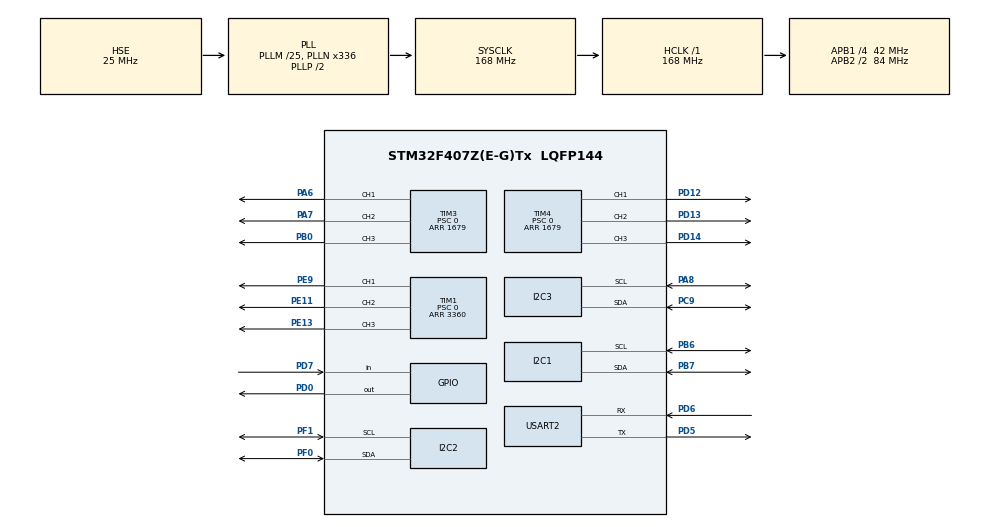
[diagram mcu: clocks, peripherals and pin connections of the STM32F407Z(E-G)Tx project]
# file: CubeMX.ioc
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I2C1.I2C_Mode=I2C_Fast
I2C2.I2C_Mode=I2C_Fast
I2C3.I2C_Mode=I2C_Fast
Mcu.Family=STM32F4
Mcu.Name=STM32F407Z(E-G)Tx
Mcu.Package=LQFP144
NVIC.PriorityGroup=NVIC_PRIORITYGROUP_4
NVIC.USART2_IRQn=true\:0\:0\:false\:false\:true\:true\:true\:true
PA13.Mode=Serial_Wire
PA13.Signal=SYS_JTMS-SWDIO
PA14.Mode=Serial_Wire
PA14.Signal=SYS_JTCK-SWCLK
PA6.Signal=S_TIM3_CH1
PA7.Signal=S_TIM3_CH2
PA8.GPIO_Pu=GPIO_PULLUP
PA8.GPIO_Speed=GPIO_SPEED_FREQ_LOW
PA8.Mode=I2C
PA8.Signal=I2C3_SCL
PB0.Signal=S_TIM3_CH3
PB6.GPIO_Pu=GPIO_PULLUP
PB6.GPIO_Speed=GPIO_SPEED_FREQ_LOW
PB6.Mode=I2C
PB6.Signal=I2C1_SCL
PB7.GPIO_Pu=GPIO_PULLUP
PB7.GPIO_Speed=GPIO_SPEED_FREQ_LOW
PB7.Mode=I2C
PB7.Signal=I2C1_SDA
PC9.GPIO_Pu=GPIO_PULLUP
PC9.GPIO_Speed=GPIO_SPEED_FREQ_LOW
PC9.Mode=I2C
PC9.Signal=I2C3_SDA
PD0.GPIO_Pu=GPIO_NOPULL
PD0.GPIO_Speed=GPIO_SPEED_FREQ_LOW
PD0.Signal=GPIO_Output
PD12.Signal=S_TIM4_CH1
PD13.Signal=S_TIM4_CH2
PD14.Signal=S_TIM4_CH3
PD5.Mode=Asynchronous
PD5.Signal=USART2_TX
PD6.Mode=Asynchronous
PD6.Signal=USART2_RX
PD7.Signal=GPIO_Input
PE11.Signal=S_TIM1_CH2
PE13.Signal=S_TIM1_CH3
PE9.Signal=S_TIM1_CH1
PF0.GPIO_Pu=GPIO_PULLUP
PF0.GPIO_Speed=GPIO_SPEED_FREQ_LOW
PF0.Mode=I2C
PF0.Signal=I2C2_SDA
PF1.GPIO_Pu=GPIO_PULLUP
PF1.GPIO_Speed=GPIO_SPEED_FREQ_LOW
PF1.Mode=I2C
PF1.Signal=I2C2_SCL
PH0-OSC_IN.Mode=HSE-External-Oscillator
PH0-OSC_IN.Signal=RCC_OSC_IN
PH1-OSC_OUT.Mode=HSE-External-Oscillator
PH1-OSC_OUT.Signal=RCC_OSC_OUT
ProjectManager.HeapSize=0x200
ProjectManager.StackSize=0x400
ProjectManager.TargetToolchain=MDK-ARM V5.32
RCC.48MHZClocksFreq_Value=84000000
RCC.AHBFreq_Value=168000000
RCC.APB1CLKDivider=RCC_HCLK_DIV4
RCC.APB1Freq_Value=42000000
RCC.APB1TimFreq_Value=84000000
RCC.APB2CLKDivider=RCC_HCLK_DIV2
RCC.APB2Freq_Value=84000000
RCC.APB2TimFreq_Value=168000000
RCC.CortexFreq_Value=168000000
RCC.HCLKFreq_Value=168000000
RCC.HSE_VALUE=25000000
RCC.HSI_VALUE=16000000
RCC.LSE_VALUE=32768
RCC.PLLM=25
RCC.PLLN=336
RCC.PLLSourceVirtual=RCC_PLLSOURCE_HSE
RCC.SYSCLKFreq_VALUE=168000000
RCC.SYSCLKSource=RCC_SYSCLKSOURCE_PLLCLK
RCC.VCOOutputFreq_Value=336000000
SH.S_TIM1_CH1.0=TIM1_CH1,PWM Generation1 CH1
SH.S_TIM1_CH2.0=TIM1_CH2,PWM Generation2 CH2
SH.S_TIM1_CH3.0=TIM1_CH3,PWM Generation3 CH3
SH.S_TIM3_CH1.0=TIM3_CH1,PWM Generation1 CH1
SH.S_TIM3_CH2.0=TIM3_CH2,PWM Generation2 CH2
SH.S_TIM3_CH3.0=TIM3_CH3,PWM Generation3 CH3
SH.S_TIM4_CH1.0=TIM4_CH1,PWM Generation1 CH1
SH.S_TIM4_CH2.0=TIM4_CH2,PWM Generation2 CH2
SH.S_TIM4_CH3.0=TIM4_CH3,PWM Generation3 CH3
TIM1.AutoReloadPreload=TIM_AUTORELOAD_PRELOAD_ENABLE
TIM1.Channel-PWM\ Generation1\ CH1=TIM_CHANNEL_1
TIM1.Channel-PWM\ Generation2\ CH2=TIM_CHANNEL_2
TIM1.Channel-PWM\ Generation3\ CH3=TIM_CHANNEL_3
TIM1.CounterMode=TIM_COUNTERMODE_CENTERALIGNED1
TIM1.Period=3360
TIM1.Prescaler=0
TIM3.AutoReloadPreload=TIM_AUTORELOAD_PRELOAD_ENABLE
TIM3.Channel-PWM\ Generation1\ CH1=TIM_CHANNEL_1
TIM3.Channel-PWM\ Generation2\ CH2=TIM_CHANNEL_2
TIM3.Channel-PWM\ Generation3\ CH3=TIM_CHANNEL_3
TIM3.CounterMode=TIM_COUNTERMODE_CENTERALIGNED1
TIM3.Period=1679
TIM3.Prescaler=0
TIM4.AutoReloadPreload=TIM_AUTORELOAD_PRELOAD_ENABLE
TIM4.Channel-PWM\ Generation1\ CH1=TIM_CHANNEL_1
TIM4.Channel-PWM\ Generation2\ CH2=TIM_CHANNEL_2
TIM4.Channel-PWM\ Generation3\ CH3=TIM_CHANNEL_3
TIM4.CounterMode=TIM_COUNTERMODE_CENTERALIGNED1
TIM4.Period=1679
TIM4.Prescaler=0
USART2.VirtualMode=VM_ASYNC
board=custom

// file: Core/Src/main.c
/* USER CODE BEGIN Header */
/**
  ******************************************************************************
  * @file           : main.c
  * @brief          : Main program body
  ******************************************************************************
  * @attention
  *
  * Copyright (c) 2026 STMicroelectronics.
  * All rights reserved.
  *
  * This software is licensed under terms that can be found in the LICENSE file
  * in the root directory of this software component.
  * If no LICENSE file comes with this software, it is provided AS-IS.
  *
  ******************************************************************************
  */
/* USER CODE END Header */
#include "main.h"
#include "i2c.h"
#include "tim.h"
#include "usart.h"
#include "gpio.h"

/* USER CODE BEGIN Includes */
#include <stdio.h>
#include <stdlib.h>
#include "MyProject.h"
/* USER CODE END Includes */

/* USER CODE BEGIN PV */
float target;  // SimpleFOC target value (shared with commander)
uint32_t debug_timer;  // 调试输出计时
/* USER CODE END PV */

void SystemClock_Config(void);
/* USER CODE BEGIN PFP */
void commander_run(void);
/* USER CODE END PFP */

int main(void)
{

  /* MCU Configuration--------------------------------------------------------*/

  /* Reset of all peripherals, Initializes the Flash interface and the Systick. */
  HAL_Init();

  /* Configure the system clock */
  SystemClock_Config();

  /* Initialize all configured peripherals */
  MX_GPIO_Init();
  MX_USART2_UART_Init();
  MX_I2C2_Init();
  MX_I2C1_Init();
  MX_I2C3_Init();
  MX_TIM3_Init();
  MX_TIM4_Init();
  MX_TIM1_Init();
  /* USER CODE BEGIN 2 */
	printf("\r\n--- STM32F407 System Clock: %ld Hz ---\r\n", HAL_RCC_GetHCLKFreq());
	printf("--- APB1 Timer Clock: %ld Hz ---\r\n", HAL_RCC_GetPCLK1Freq() * 2);
	printf("--- APB2 Timer Clock: %ld Hz ---\r\n", HAL_RCC_GetPCLK2Freq() * 2);

	/* 初始化SimpleFOC相关硬件 */
	/* TIM1 configured by MX_TIM1_Init() */
	TIM6_1ms_Init();           // 1ms定时器中断

	delay_ms(1000);            // 等待系统稳定

	/* SimpleFOC参数配置 */
	voltage_power_supply = 12.0f;   // V
	voltage_limit = 2.5f;           // V，最大值需小于12/1.732=6.9
	velocity_limit = 20.0f;         // rad/s
	controller = Type_velocity_openloop;
	pole_pairs = 7;                 // 极对数

	M1_Enable;                      // 使能DRV8313-1
	printf("Motor ready.\r\n");

	systick_CountMode();            // SysTick循环计数模式(不能再调用delay_us/ms和HAL_Delay)
	target = 1.0f;                  // 上电后以 1 rad/s 转动

	/* 启动TIM3/TIM4 PWM输出 */
	HAL_TIM_PWM_Start(&htim3, TIM_CHANNEL_1);
	HAL_TIM_PWM_Start(&htim3, TIM_CHANNEL_2);
	HAL_TIM_PWM_Start(&htim3, TIM_CHANNEL_3);
	HAL_TIM_PWM_Start(&htim4, TIM_CHANNEL_1);
	HAL_TIM_PWM_Start(&htim4, TIM_CHANNEL_2);
	HAL_TIM_PWM_Start(&htim4, TIM_CHANNEL_3);
  /* USER CODE END 2 */

  /* Infinite loop */
  /* USER CODE BEGIN WHILE */
	while(1)
	{
		if(time1_cntr >= 200)  // 0.2s LED闪烁
		{
			time1_cntr = 0;
			HAL_GPIO_TogglePin(GPIOG, GPIO_PIN_0);  // PG0 LED
			debug_timer++;
			/* 每1秒打印一次状态 */
			if(debug_timer >= 5)
			{
				debug_timer = 0;
				printf("angle=%.3f  CCR1=%lu CCR2=%lu CCR3=%lu\r\n",
					shaft_angle,
					TIM1->CCR1, TIM1->CCR2, TIM1->CCR3);
			}
		}
		move(target);
		commander_run();
	}

    /* USER CODE END WHILE */

}

void SystemClock_Config(void)
{
  RCC_OscInitTypeDef RCC_OscInitStruct = {0};
  RCC_ClkInitTypeDef RCC_ClkInitStruct = {0};

  /** Configure the main internal regulator output voltage
  */
  __HAL_RCC_PWR_CLK_ENABLE();
  __HAL_PWR_VOLTAGESCALING_CONFIG(PWR_REGULATOR_VOLTAGE_SCALE1);

  /** Initializes the RCC Oscillators according to the specified parameters
  * in the RCC_OscInitTypeDef structure.
  */
  RCC_OscInitStruct.OscillatorType = RCC_OSCILLATORTYPE_HSE;
  RCC_OscInitStruct.HSEState = RCC_HSE_ON;
  RCC_OscInitStruct.PLL.PLLState = RCC_PLL_ON;
  RCC_OscInitStruct.PLL.PLLSource = RCC_PLLSOURCE_HSE;
  RCC_OscInitStruct.PLL.PLLM = 25;
  RCC_OscInitStruct.PLL.PLLN = 336;
  RCC_OscInitStruct.PLL.PLLP = RCC_PLLP_DIV2;
  RCC_OscInitStruct.PLL.PLLQ = 4;
  if (HAL_RCC_OscConfig(&RCC_OscInitStruct) != HAL_OK)
  {
    Error_Handler();
  }

  /** Initializes the CPU, AHB and APB buses clocks
  */
  RCC_ClkInitStruct.ClockType = RCC_CLOCKTYPE_HCLK|RCC_CLOCKTYPE_SYSCLK
                              |RCC_CLOCKTYPE_PCLK1|RCC_CLOCKTYPE_PCLK2;
  RCC_ClkInitStruct.SYSCLKSource = RCC_SYSCLKSOURCE_PLLCLK;
  RCC_ClkInitStruct.AHBCLKDivider = RCC_SYSCLK_DIV1;
  RCC_ClkInitStruct.APB1CLKDivider = RCC_HCLK_DIV4;
  RCC_ClkInitStruct.APB2CLKDivider = RCC_HCLK_DIV2;

  if (HAL_RCC_ClockConfig(&RCC_ClkInitStruct, FLASH_LATENCY_5) != HAL_OK)
  {
    Error_Handler();
  }
}

/* USER CODE BEGIN 4 */
/******************************************************************************/
/* 串口命令解析 (来自原F1项目的loop222) */
void commander_run(void)
{
	if((USART_RX_STA & 0x8000) != 0)
	{
		switch(USART_RX_BUF[0])
		{
			case 'H':
				printf("Hello World!\r\n");
				break;
			case 'U':   // U5.0 - set voltage_limit
				voltage_limit = atof((const char *)(USART_RX_BUF + 1));
				printf("voltage_limit=%.4f\r\n", voltage_limit);
				break;
			case 'T':   // T6.28  — 设置目标值
				target = atof((const char *)(USART_RX_BUF + 1));
				printf("RX=%.4f\r\n", target);
				break;
		}
		USART_RX_STA = 0;
	}
}
/******************************************************************************/
/* USER CODE END 4 */

void Error_Handler(void)
{
  __disable_irq();
  while (1)
  {
  }
}
